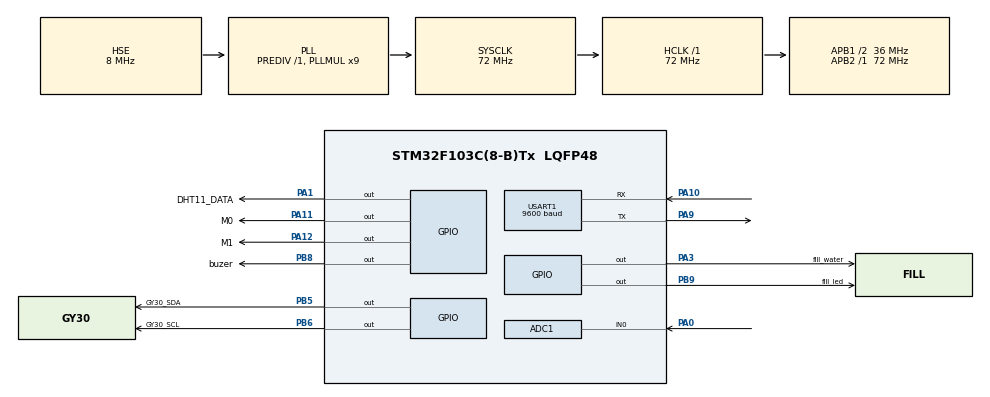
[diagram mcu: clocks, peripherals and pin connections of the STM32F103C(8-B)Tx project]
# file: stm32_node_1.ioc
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ADC1.Channel-0\#ChannelRegularConversion=ADC_CHANNEL_0
ADC1.ContinuousConvMode=ENABLE
ADC1.EnableAnalogWatchDog=false
ADC1.NbrOfConversionFlag=1
ADC1.Rank-0\#ChannelRegularConversion=1
ADC1.SamplingTime-0\#ChannelRegularConversion=ADC_SAMPLETIME_1CYCLE_5
ADC1.master=1
Dma.ADC1.0.Direction=DMA_PERIPH_TO_MEMORY
Dma.ADC1.0.Instance=DMA1_Channel1
Dma.ADC1.0.MemDataAlignment=DMA_MDATAALIGN_HALFWORD
Dma.ADC1.0.MemInc=DMA_MINC_ENABLE
Dma.ADC1.0.Mode=DMA_CIRCULAR
Dma.ADC1.0.PeriphDataAlignment=DMA_PDATAALIGN_HALFWORD
Dma.ADC1.0.PeriphInc=DMA_PINC_DISABLE
Dma.ADC1.0.Priority=DMA_PRIORITY_LOW
Dma.Request0=ADC1
Dma.Request1=USART1_RX
Dma.USART1_RX.1.Direction=DMA_PERIPH_TO_MEMORY
Dma.USART1_RX.1.Instance=DMA1_Channel5
Dma.USART1_RX.1.MemDataAlignment=DMA_MDATAALIGN_BYTE
Dma.USART1_RX.1.MemInc=DMA_MINC_ENABLE
Dma.USART1_RX.1.Mode=DMA_CIRCULAR
Dma.USART1_RX.1.PeriphDataAlignment=DMA_PDATAALIGN_BYTE
Dma.USART1_RX.1.PeriphInc=DMA_PINC_DISABLE
Dma.USART1_RX.1.Priority=DMA_PRIORITY_LOW
FREERTOS.Tasks01=defaultTask,24,128,StartDefaultTask,Default,NULL,Dynamic,NULL,NULL
Mcu.Family=STM32F1
Mcu.Name=STM32F103C(8-B)Tx
Mcu.Package=LQFP48
NVIC.DMA1_Channel1_IRQn=true\:5\:0\:false\:false\:true\:true\:false\:true\:true
NVIC.DMA1_Channel5_IRQn=true\:5\:0\:false\:false\:true\:true\:false\:true\:true
NVIC.PriorityGroup=NVIC_PRIORITYGROUP_4
NVIC.TIM4_IRQn=true\:15\:0\:false\:false\:true\:false\:false\:true\:true
NVIC.TimeBase=TIM4_IRQn
NVIC.TimeBaseIP=TIM4
NVIC.USART1_IRQn=true\:5\:0\:false\:false\:true\:true\:true\:true\:true
PA0-WKUP.Signal=ADCx_IN0
PA1.GPIO_Label=DHT11_DATA
PA1.GPIO_ModeDefaultOutputPP=GPIO_MODE_OUTPUT_PP
PA1.GPIO_Speed=GPIO_SPEED_FREQ_HIGH
PA1.PinState=GPIO_PIN_SET
PA1.Signal=GPIO_Output
PA10.Mode=Asynchronous
PA10.Signal=USART1_RX
PA11.GPIO_Label=M0
PA11.Signal=GPIO_Output
PA12.GPIO_Label=M1
PA12.Signal=GPIO_Output
PA13.Mode=Serial_Wire
PA13.Signal=SYS_JTMS-SWDIO
PA14.Mode=Serial_Wire
PA14.Signal=SYS_JTCK-SWCLK
PA3.GPIO_Label=fill_water
PA3.PinState=GPIO_PIN_RESET
PA3.Signal=GPIO_Output
PA9.Mode=Asynchronous
PA9.Signal=USART1_TX
PB5.GPIO_Label=GY30_SDA
PB5.GPIO_ModeDefaultOutputPP=GPIO_MODE_OUTPUT_OD
PB5.GPIO_PuPd=GPIO_PULLUP
PB5.PinState=GPIO_PIN_SET
PB5.Signal=GPIO_Output
PB6.GPIO_Label=GY30_SCL
PB6.GPIO_ModeDefaultOutputPP=GPIO_MODE_OUTPUT_OD
PB6.GPIO_PuPd=GPIO_PULLUP
PB6.PinState=GPIO_PIN_SET
PB6.Signal=GPIO_Output
PB8.GPIO_Label=buzer
PB8.Signal=GPIO_Output
PB9.GPIO_Label=fill_led
PB9.Signal=GPIO_Output
PD0-OSC_IN.Mode=HSE-External-Oscillator
PD0-OSC_IN.Signal=RCC_OSC_IN
PD1-OSC_OUT.Mode=HSE-External-Oscillator
PD1-OSC_OUT.Signal=RCC_OSC_OUT
ProjectManager.HeapSize=0x200
ProjectManager.StackSize=0x400
ProjectManager.TargetToolchain=CMake
RCC.ADCPresc=RCC_ADCPCLK2_DIV6
RCC.AHBFreq_Value=72000000
RCC.APB1CLKDivider=RCC_HCLK_DIV2
RCC.APB1Freq_Value=36000000
RCC.APB1TimFreq_Value=72000000
RCC.APB2Freq_Value=72000000
RCC.APB2TimFreq_Value=72000000
RCC.HCLKFreq_Value=72000000
RCC.PLLMUL=RCC_PLL_MUL9
RCC.PLLSourceVirtual=RCC_PLLSOURCE_HSE
RCC.SYSCLKFreq_VALUE=72000000
RCC.SYSCLKSource=RCC_SYSCLKSOURCE_PLLCLK
RCC.USBFreq_Value=72000000
SH.ADCx_IN0.0=ADC1_IN0,IN0
USART1.BaudRate=9600
USART1.VirtualMode=VM_ASYNC
VP_FREERTOS_VS_CMSIS_V2.Mode=CMSIS_V2
VP_SYS_VS_tim4.Mode=TIM4
board=custom

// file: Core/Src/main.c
/* USER CODE BEGIN Header */
/**
  ******************************************************************************
  * @file           : main.c
  * @brief          : Main program body
  ******************************************************************************
  * @attention
  *
  * Copyright (c) 2026 STMicroelectronics.
  * All rights reserved.
  *
  * This software is licensed under terms that can be found in the LICENSE file
  * in the root directory of this software component.
  * If no LICENSE file comes with this software, it is provided AS-IS.
  *
  ******************************************************************************
  */
/* USER CODE END Header */
#include "main.h"
#include "cmsis_os.h"
#include "adc.h"
#include "dma.h"
#include "usart.h"
#include "gpio.h"

/* USER CODE BEGIN Includes */
#include "delay.h"
#include "lora_at.h"
/* USER CODE END Includes */

void SystemClock_Config(void);
void MX_FREERTOS_Init(void);

int main(void)
{

  /* MCU Configuration--------------------------------------------------------*/

  /* Reset of all peripherals, Initializes the Flash interface and the Systick. */
  HAL_Init();

  /* USER CODE BEGIN Init */
  delay_init();
  /* USER CODE END Init */

  /* Configure the system clock */
  SystemClock_Config();

  /* Initialize all configured peripherals */
  MX_GPIO_Init();
  MX_DMA_Init();
  MX_USART1_UART_Init();
  MX_ADC1_Init();
  /* USER CODE BEGIN 2 */

  // 初始化LoRa模块
  Lora_StatusTypeDef lora_status = LORA_Init();
  if(lora_status == LORA_OK)
  {
    // LoRa初始化成功
    // 可以在这里添加指示灯或调试信息
  }
  else
  {
    // LoRa初始化失败处理
    // 可以在这里添加错误处理逻辑
  }

  /* USER CODE END 2 */

  /* Init scheduler */
  osKernelInitialize();  /* Call init function for freertos objects (in cmsis_os2.c) */
  MX_FREERTOS_Init();

  /* Start scheduler */
  osKernelStart();

  /* We should never get here as control is now taken by the scheduler */

  /* Infinite loop */
  while (1)
  {

  }
}

void SystemClock_Config(void)
{
  RCC_OscInitTypeDef RCC_OscInitStruct = {0};
  RCC_ClkInitTypeDef RCC_ClkInitStruct = {0};
  RCC_PeriphCLKInitTypeDef PeriphClkInit = {0};

  /** Initializes the RCC Oscillators according to the specified parameters
  * in the RCC_OscInitTypeDef structure.
  */
  RCC_OscInitStruct.OscillatorType = RCC_OSCILLATORTYPE_HSE;
  RCC_OscInitStruct.HSEState = RCC_HSE_ON;
  RCC_OscInitStruct.HSEPredivValue = RCC_HSE_PREDIV_DIV1;
  RCC_OscInitStruct.HSIState = RCC_HSI_ON;
  RCC_OscInitStruct.PLL.PLLState = RCC_PLL_ON;
  RCC_OscInitStruct.PLL.PLLSource = RCC_PLLSOURCE_HSE;
  RCC_OscInitStruct.PLL.PLLMUL = RCC_PLL_MUL9;
  if (HAL_RCC_OscConfig(&RCC_OscInitStruct) != HAL_OK)
  {
    Error_Handler();
  }

  /** Initializes the CPU, AHB and APB buses clocks
  */
  RCC_ClkInitStruct.ClockType = RCC_CLOCKTYPE_HCLK|RCC_CLOCKTYPE_SYSCLK
                              |RCC_CLOCKTYPE_PCLK1|RCC_CLOCKTYPE_PCLK2;
  RCC_ClkInitStruct.SYSCLKSource = RCC_SYSCLKSOURCE_PLLCLK;
  RCC_ClkInitStruct.AHBCLKDivider = RCC_SYSCLK_DIV1;
  RCC_ClkInitStruct.APB1CLKDivider = RCC_HCLK_DIV2;
  RCC_ClkInitStruct.APB2CLKDivider = RCC_HCLK_DIV1;

  if (HAL_RCC_ClockConfig(&RCC_ClkInitStruct, FLASH_LATENCY_2) != HAL_OK)
  {
    Error_Handler();
  }
  PeriphClkInit.PeriphClockSelection = RCC_PERIPHCLK_ADC;
  PeriphClkInit.AdcClockSelection = RCC_ADCPCLK2_DIV6;
  if (HAL_RCCEx_PeriphCLKConfig(&PeriphClkInit) != HAL_OK)
  {
    Error_Handler();
  }
}

void HAL_TIM_PeriodElapsedCallback(TIM_HandleTypeDef *htim)
{
  if (htim->Instance == TIM4)
  {
    HAL_IncTick();
  }
}

void Error_Handler(void)
{
  __disable_irq();
  while (1)
  {
  }
}

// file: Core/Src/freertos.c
/* USER CODE BEGIN Header */
/**
  ******************************************************************************
  * File Name          : freertos.c
  * Description        : Code for freertos applications
  ******************************************************************************
  * @attention
  *
  * Copyright (c) 2026 STMicroelectronics.
  * All rights reserved.
  *
  * This software is licensed under terms that can be found in the LICENSE file
  * in the root directory of this software component.
  * If no LICENSE file comes with this software, it is provided AS-IS.
  *
  ******************************************************************************
  */
/* USER CODE END Header */

#include "FreeRTOS.h"
#include "task.h"
#include "main.h"
#include "cmsis_os.h"

/* USER CODE BEGIN Includes */
#include "stream_buffer.h"  // 添加流缓冲区头文件
#include <string.h>  // 添加string.h头文件以使用memcpy函数
#include <stdio.h>   // 添加stdio.h头文件以使用sprintf函数
#include "usart.h"   // 添加usart头文件以使用huart1
#include "adc.h"     // 添加ADC头文件以使用ADC功能
#include "dht11.h"   // 添加DHT11头文件以使用温湿度传感器
#include "bh1750.h"  // 添加BH1750头文件以使用光照传感器
#include "delay.h"   // 添加delay头文件以使用延时函数
#include "oled.h"    // 添加OLED头文件以使用显示屏
#include "dma.h"     // 添加DMA头文件以使用hdma_usart1_rx
#include "lora_at.h" // 添加LoRa AT指令头文件以在帧里包含LORA模块地址ID
/* USER CODE END Includes */

/* USER CODE BEGIN PTD */
/* External DMA handle declaration */
extern DMA_HandleTypeDef hdma_usart1_rx;
/* USER CODE END PTD */

/* USER CODE BEGIN PD */
#define STREAM_BUFFER_SIZE 256      // 流缓冲区大小
#define TRIGGER_LEVEL 1             // 触发级别
#define MAX_FRAME_LENGTH 64         // 最大帧长度
#define CMD_FRAME_HEADER 0xAA       // 命令帧头标识
#define CMD_FRAME_TAIL 0x55         // 命令帧尾标识
#define FRAME_MIN_LENGTH 5          // 最小帧长度：帧头+命令类型+数据长度+校验和+帧尾

// 命令类型定义
#define CMD_TYPE_QUERY 0x01         // 查询命令
#define CMD_TYPE_SET   0x02         // 设置命令

// 自动控制阈值定义
#define LIGHT_THRESHOLD_LOW 200     // 光照强度低阈值(lux)，低于此值开启补光
#define LIGHT_THRESHOLD_HIGH 800    // 光照强度高阈值(lux)，高于此值关闭补光
#define SOIL_MOISTURE_THRESHOLD_LOW 1.5f    // 土壤湿度低阈值(V)，低于此值开启补水
#define SOIL_MOISTURE_THRESHOLD_HIGH 2.5f   // 土壤湿度高阈值(V)，高于此值关闭补水
/* USER CODE END PD */

/* USER CODE BEGIN PM */
/* Definitions for sensorTask */
osThreadId_t sensorTaskHandle;
const osThreadAttr_t sensorTask_attributes = {
  .name = "sensorTask",
  .stack_size = 256 * 4,
  .priority = (osPriority_t) osPriorityBelowNormal,
};

/* Definitions for oledDisplayTask */
osThreadId_t oledDisplayTaskHandle;
const osThreadAttr_t oledDisplayTask_attributes = {
  .name = "oledDisplayTask",
  .stack_size = 256 * 4,
  .priority = (osPriority_t) osPriorityLow,
};
/* Definitions for uartProcessTask */
osThreadId_t uartProcessTaskHandle;
const osThreadAttr_t uartProcessTask_attributes = {
    .name = "uartProcessTask",
    .stack_size = 512 * 4,
    .priority = (osPriority_t) osPriorityAboveNormal,
};
/* USER CODE END PM */

/* USER CODE BEGIN Variables */

StreamBufferHandle_t xStreamBufferUart;  // 串口流缓冲句柄

// DMA接收相关定义
#define UART_DMA_RX_BUFFER_SIZE 256
uint8_t dma_rx_buffer[UART_DMA_RX_BUFFER_SIZE]; // DMA接收缓冲区
volatile uint16_t dma_last_pos = 0; // 上次处理到的位置

// 协议帧结构体定义
typedef struct {
    uint8_t header;           // 帧头
    uint8_t cmd_type;         // 命令类型
    uint8_t data_len;         // 数据长度
    uint8_t data[MAX_FRAME_LENGTH-5]; // 数据域（减去帧头、命令类型、数据长度、校验和、帧尾）
    uint8_t checksum;         // 校验和
    uint8_t tail;             // 帧尾
} ProtocolFrame_t;

// 控制模式和状态变量
uint8_t control_mode = 1;           // 控制模式：1=自动，0=手动
uint8_t manual_light_state = 0;     // 手动模式下的补光状态
uint8_t manual_water_state = 0;     // 手动模式下的补水状态
uint8_t manual_buzer_state = 0;     // 手动模式下蜂鸣器状态

// 传感器初始化结果变量
uint8_t dht11_init_result = 0;      // DHT11传感器初始化结果 (0:成功, 非0:失败)

// 传感器任务相关变量
uint16_t adc_raw_value = 0;              // ADC最新原始值（DMA单次）
float adc_voltage_value = 0.0f;          // 转换后的电压值
uint16_t adc_dma_buffer[16] = {0};       // ADC DMA采样缓冲区（多点平均）
uint8_t adc_dma_sample_count = 16;       // 采样点数
uint8_t dht11_temperature = 0;           // DHT11温度值
uint8_t dht11_humidity = 0;              // DHT11湿度值
uint32_t bh1750_light_value = 0;         // BH1750光照值
/* USER CODE END Variables */
/* Definitions for defaultTask */
osThreadId_t defaultTaskHandle;
const osThreadAttr_t defaultTask_attributes = {
  .name = "defaultTask",
  .stack_size = 128 * 4,
  .priority = (osPriority_t) osPriorityNormal,
};

/* USER CODE BEGIN FunctionPrototypes */
void StartUartProcessTask(void *argument);
void StartSensorTask(void *argument);
uint8_t calculate_checksum(uint8_t *data, uint8_t len);
uint8_t parse_command_frame(uint8_t *buffer, size_t length, ProtocolFrame_t *frame);
void send_response_frame(uint8_t cmd_type, uint8_t *data, uint8_t data_len);
void StartOledDisplayTask(void *argument);  // 添加OLED显示任务函数原型
/* USER CODE END FunctionPrototypes */

void StartDefaultTask(void *argument);

void MX_FREERTOS_Init(void); /* (MISRA C 2004 rule 8.1) */

void MX_FREERTOS_Init(void) {
  /* USER CODE BEGIN Init */
    // 创建流缓冲区
    xStreamBufferUart = xStreamBufferCreate(STREAM_BUFFER_SIZE, TRIGGER_LEVEL);
    if(xStreamBufferUart == NULL){
        Error_Handler();  // 如果创建失败则报错
    }

    // 启动USART1 DMA接收
    dma_last_pos = 0;
    HAL_UART_Receive_DMA(&huart1, dma_rx_buffer, UART_DMA_RX_BUFFER_SIZE);
    // 使能IDLE中断
    __HAL_UART_ENABLE_IT(&huart1, UART_IT_IDLE);
  /* USER CODE END Init */

  /* Create the thread(s) */
  /* creation of defaultTask */
  defaultTaskHandle = osThreadNew(StartDefaultTask, NULL, &defaultTask_attributes);

  /* USER CODE BEGIN RTOS_THREADS */
  /* add threads, ... */
   /* creation of sensorTask */
  sensorTaskHandle = osThreadNew(StartSensorTask, NULL, &sensorTask_attributes);
  uartProcessTaskHandle = osThreadNew(StartUartProcessTask, NULL, &uartProcessTask_attributes);
  /* creation of oledDisplayTask */
  oledDisplayTaskHandle = osThreadNew(StartOledDisplayTask, NULL, &oledDisplayTask_attributes);
  /* USER CODE END RTOS_THREADS */

}

void StartDefaultTask(void *argument)
{
  for(;;)
  {
    osDelay(1);
  }
}

/* USER CODE BEGIN Application */

// 传感器读取任务 - 包含ADC读取和校准
void StartSensorTask(void *argument)
{
    // ADC采样相关变量
    uint32_t adc_raw_sum = 0;

    uint8_t dht11_read_result = 0;    // DHT11读取结果
    static uint8_t sensor_init_done = 0; // 传感器初始化标志

    // 自动控制状态变量
    static uint8_t auto_light_state = 0;     // 自动补光控制状态 (0:关闭, 1:开启)
    static uint8_t auto_water_state = 0;     // 自动补水控制状态 (0:关闭, 1:开启)

    // 在开始转换之前先进行ADC校准
    if (HAL_ADCEx_Calibration_Start(&hadc1) != HAL_OK)
    {
        Error_Handler(); // 校准失败，进入错误处理
    }

    // 启动ADC DMA多点采集
    if (HAL_ADC_Start_DMA(&hadc1, (uint32_t*)adc_dma_buffer, adc_dma_sample_count) != HAL_OK)
    {
        Error_Handler(); // 启动转换失败，进入错误处理
    }

    for(;;)
    {
        // 第一次运行时初始化传感器
        if (!sensor_init_done)
        {
            // 初始化DHT11传感器
            dht11_init_result = DHT11_Init();
            if (dht11_init_result != 0)
            {
                // DHT11初始化失败处理
                dht11_temperature = 0;
                dht11_humidity = 0;
            }

            // 初始化BH1750传感器
            delay_init();  // 初始化延时函数
            Init_BH1750(); // 初始化BH1750

            sensor_init_done = 1;
        }

        // 采集一组DMA数据后求平均
        adc_raw_sum = 0;
        for (uint8_t i = 0; i < adc_dma_sample_count; i++) {
            adc_raw_sum += adc_dma_buffer[i];
        }
        uint16_t avg_adc_value = adc_raw_sum / adc_dma_sample_count;
        adc_raw_value = avg_adc_value; // 记录最新平均值
        adc_voltage_value = ((float)avg_adc_value * 3.3f) / 4096.0f;

        // 读取DHT11温湿度传感器数据（每100ms读取一次）
        static uint32_t dht11_timer = 0;
        if (HAL_GetTick() - dht11_timer >= 100) // 100ms间隔
        {
            if (dht11_init_result == 0) // 只有初始化成功才读取
            {
                dht11_read_result = DHT11_Read_Data(&dht11_temperature, &dht11_humidity);
                if (dht11_read_result != 0)
                {
                    // 读取失败时保持原有值或设置默认值
                    dht11_temperature = 0;
                    dht11_humidity = 0;
                }
            }
            dht11_timer = HAL_GetTick();
        }

        // 读取BH1750光照传感器数据（每200ms读取一次）
        static uint32_t bh1750_timer = 0;
        if (HAL_GetTick() - bh1750_timer >= 200) // 200ms间隔
        {

                bh1750_light_value = Value_GY30(); // 读取光照强度值

            bh1750_timer = HAL_GetTick();
        }

        // === 控制逻辑 ===
        if (control_mode == 1) // 自动模式
        {
            // 补光自动控制逻辑 (基于BH1750光照传感器)
            if (bh1750_light_value < LIGHT_THRESHOLD_LOW && auto_light_state == 0)
            {
                // 光照不足，开启补光
                HAL_GPIO_WritePin(fill_led_GPIO_Port, fill_led_Pin, GPIO_PIN_SET);
                auto_light_state = 1;
            }
            else if (bh1750_light_value > LIGHT_THRESHOLD_HIGH && auto_light_state == 1)
            {
                // 光照充足，关闭补光
                HAL_GPIO_WritePin(fill_led_GPIO_Port, fill_led_Pin, GPIO_PIN_RESET);
                auto_light_state = 0;
            }

            // 补水自动控制逻辑 (基于ADC土壤湿度传感器)
            if (adc_voltage_value > 0.1f) // 确保ADC读数有效
            {
                if (adc_voltage_value < SOIL_MOISTURE_THRESHOLD_LOW && auto_water_state == 0)
                {
                    // 土壤湿度过低，开启补水
                    HAL_GPIO_WritePin(fill_water_GPIO_Port, fill_water_Pin, GPIO_PIN_SET);
                    auto_water_state = 1;
                }
                else if (adc_voltage_value > SOIL_MOISTURE_THRESHOLD_HIGH && auto_water_state == 1)
                {
                    // 土壤湿度充足，关闭补水
                    HAL_GPIO_WritePin(fill_water_GPIO_Port, fill_water_Pin, GPIO_PIN_RESET);
                    auto_water_state = 0;
                }
            }
        }
        else // 手动模式
        {
            // 根据手动状态设置GPIO
            if (manual_light_state == 1)
                HAL_GPIO_WritePin(fill_led_GPIO_Port, fill_led_Pin, GPIO_PIN_SET);
            else
                HAL_GPIO_WritePin(fill_led_GPIO_Port, fill_led_Pin, GPIO_PIN_RESET);

            if (manual_water_state == 1)
                HAL_GPIO_WritePin(fill_water_GPIO_Port, fill_water_Pin, GPIO_PIN_SET);
            else
                HAL_GPIO_WritePin(fill_water_GPIO_Port, fill_water_Pin, GPIO_PIN_RESET);

            if (manual_buzer_state == 1)
                HAL_GPIO_WritePin(buzer_GPIO_Port, buzer_Pin, GPIO_PIN_SET);
            else
                HAL_GPIO_WritePin(buzer_GPIO_Port, buzer_Pin, GPIO_PIN_RESET);
        }

        // 传感器读取间隔 - 例如每100ms读取一次
        osDelay(100);
    }
}

// 新版数据处理任务 - 状态机逐字节解析帧，支持粘包/乱序/丢包
typedef enum {
    FRAME_STATE_IDLE = 0,
    FRAME_STATE_HEADER,
    FRAME_STATE_CMD,
    FRAME_STATE_LEN,
    FRAME_STATE_DATA,
    FRAME_STATE_CHECKSUM,
    FRAME_STATE_TAIL
} FrameParseState_t;

typedef struct {
    FrameParseState_t state;
    uint8_t buffer[MAX_FRAME_LENGTH];
    uint8_t length;
    uint8_t data_len;
    uint8_t checksum;
    uint8_t data_index;
} FrameParser_t;

static FrameParser_t g_frame_parser;

static void reset_frame_parser(void) {
    memset(&g_frame_parser, 0, sizeof(g_frame_parser));
    g_frame_parser.state = FRAME_STATE_IDLE;
}

void StartUartProcessTask(void *argument)
{
    uint8_t rx_buffer[64];
    int len = 0;
    reset_frame_parser();
    for(;;)
    {
        len = xStreamBufferReceive(xStreamBufferUart, rx_buffer, sizeof(rx_buffer), pdMS_TO_TICKS(20));
        if (len > 0) {
            for (int i = 0; i < len; i++) {
                uint8_t byte = rx_buffer[i];
                switch (g_frame_parser.state) {
                    case FRAME_STATE_IDLE:
                        if (byte == CMD_FRAME_HEADER) {
                            g_frame_parser.buffer[0] = byte;
                            g_frame_parser.length = 1;
                            g_frame_parser.state = FRAME_STATE_CMD;
                        }
                        break;
                    case FRAME_STATE_CMD:
                        g_frame_parser.buffer[g_frame_parser.length++] = byte;
                        g_frame_parser.state = FRAME_STATE_LEN;
                        break;
                    case FRAME_STATE_LEN:
                        g_frame_parser.buffer[g_frame_parser.length++] = byte;
                        g_frame_parser.data_len = byte;
                        g_frame_parser.data_index = 0;
                        if (g_frame_parser.data_len > (MAX_FRAME_LENGTH-5)) {
                            reset_frame_parser();
                        } else if (g_frame_parser.data_len == 0) {
                            g_frame_parser.state = FRAME_STATE_CHECKSUM;
                        } else {
                            g_frame_parser.state = FRAME_STATE_DATA;
                        }
                        break;
                    case FRAME_STATE_DATA:
                        g_frame_parser.buffer[g_frame_parser.length++] = byte;
                        g_frame_parser.data_index++;
                        if (g_frame_parser.data_index >= g_frame_parser.data_len) {
                            g_frame_parser.state = FRAME_STATE_CHECKSUM;
                        }
                        break;
                    case FRAME_STATE_CHECKSUM:
                        g_frame_parser.buffer[g_frame_parser.length++] = byte;
                        g_frame_parser.checksum = byte;
                        g_frame_parser.state = FRAME_STATE_TAIL;
                        break;
                    case FRAME_STATE_TAIL:
                        g_frame_parser.buffer[g_frame_parser.length++] = byte;
                        if (byte == CMD_FRAME_TAIL) {
                            // 校验和校验
                            uint8_t calc_sum = 0;
                            for (int k = 0; k < g_frame_parser.length-2; k++) {
                                calc_sum += g_frame_parser.buffer[k];
                            }
                            if (calc_sum == g_frame_parser.checksum) {
                                // 直接处理帧
                                uint8_t cmd_type = g_frame_parser.buffer[1];
                                uint8_t data_len = g_frame_parser.buffer[2];
                                uint8_t *data = &g_frame_parser.buffer[3];
                                if (cmd_type == CMD_TYPE_QUERY) {
                                    send_response_frame(CMD_TYPE_QUERY, NULL, 0);
                                } else if (cmd_type == CMD_TYPE_SET) {
                                    if (data_len >= 3) {
                                        manual_light_state = (data[0] > 0) ? 1 : 0;
                                        manual_water_state = (data[1] > 0) ? 1 : 0;
                                        manual_buzer_state = (data[2] > 0) ? 1 : 0;
                                        control_mode = 0;
                                        send_response_frame(CMD_TYPE_SET, NULL, 0);
                                    }
                                } else {
                                    uint8_t error_data[1] = {0xFF};
                                    send_response_frame(cmd_type, error_data, 1);
                                }
                            }
                        }
                        reset_frame_parser();
                        break;
                    default:
                        reset_frame_parser();
                        break;
                }
            }
        }
        vTaskDelay(5 / portTICK_PERIOD_MS);
    }
}

// 计算校验和函数
uint8_t calculate_checksum(uint8_t *data, uint8_t len) {
    uint8_t sum = 0;
    for(int i = 0; i < len; i++) {
        sum += data[i];
    }
    return sum; // 简单的累加和校验
}

// 发送响应帧函数（带边界检查）
void send_response_frame(uint8_t cmd_type, uint8_t *data, uint8_t data_len) {
    uint8_t response_frame[MAX_FRAME_LENGTH];
    uint8_t index = 0;

    // 帧头、命令类型、占位的数据长度（稍后更新）
    response_frame[index++] = CMD_FRAME_HEADER;
    response_frame[index++] = cmd_type;
    response_frame[index++] = 0; // 占位

    if (cmd_type == CMD_TYPE_QUERY || cmd_type == CMD_TYPE_SET)
    {
        uint8_t sensor_data_len = 2 + 4 + 1 + 1 + 4 + 1 + 3; // 18
        if (sensor_data_len > (MAX_FRAME_LENGTH - 5)) {
            sensor_data_len = MAX_FRAME_LENGTH - 5;
        }
        // 更新长度字段
        response_frame[2] = sensor_data_len;

        // 节点ID (2)
        if (index + 2 <= MAX_FRAME_LENGTH - 2) {
            response_frame[index++] = (uint8_t)(LORA_DEFAULT_ADDRESS >> 8);
            response_frame[index++] = (uint8_t)(LORA_DEFAULT_ADDRESS & 0xFF);
        }

        // ADC 电压 (float -> 4 bytes)
        union { float f; uint8_t b[4]; } vu;
        vu.f = adc_voltage_value;
        for (int i = 0; i < 4 && index < MAX_FRAME_LENGTH - 2; i++) response_frame[index++] = vu.b[i];

        if (index < MAX_FRAME_LENGTH - 2) response_frame[index++] = dht11_temperature;
        if (index < MAX_FRAME_LENGTH - 2) response_frame[index++] = dht11_humidity;

        // BH1750 光照 (4 bytes)
        if (index + 4 <= MAX_FRAME_LENGTH - 2) {
            response_frame[index++] = (uint8_t)(bh1750_light_value >> 24);
            response_frame[index++] = (uint8_t)(bh1750_light_value >> 16);
            response_frame[index++] = (uint8_t)(bh1750_light_value >> 8);
            response_frame[index++] = (uint8_t)(bh1750_light_value & 0xFF);
        }

        if (index < MAX_FRAME_LENGTH - 2) response_frame[index++] = control_mode;

        // 实际GPIO状态
        uint8_t actual_light_state = (HAL_GPIO_ReadPin(fill_led_GPIO_Port, fill_led_Pin) == GPIO_PIN_SET) ? 1 : 0;
        uint8_t actual_water_state = (HAL_GPIO_ReadPin(fill_water_GPIO_Port, fill_water_Pin) == GPIO_PIN_SET) ? 1 : 0;
        uint8_t actual_buzer_state = (HAL_GPIO_ReadPin(buzer_GPIO_Port, buzer_Pin) == GPIO_PIN_SET) ? 1 : 0;
        if (index < MAX_FRAME_LENGTH - 2) response_frame[index++] = actual_light_state;
        if (index < MAX_FRAME_LENGTH - 2) response_frame[index++] = actual_water_state;
        if (index < MAX_FRAME_LENGTH - 2) response_frame[index++] = actual_buzer_state;
    }
    else
    {
        // 拷贝入参数据（受限边界）
        for (int i = 0; i < data_len && index < MAX_FRAME_LENGTH - 2; i++) {
            response_frame[index++] = data[i];
        }
        // 更新长度字段为实际拷贝的字节数
        response_frame[2] = (uint8_t)((index > 3) ? (index - 3) : 0);
    }

    // 计算并添加校验和
    uint8_t checksum = calculate_checksum(response_frame, index);
    if (index < MAX_FRAME_LENGTH - 1) {
        response_frame[index++] = checksum;
    } else {
        response_frame[MAX_FRAME_LENGTH - 2] = checksum;
    }

    // 添加帧尾
    if (index < MAX_FRAME_LENGTH) {
        response_frame[index++] = CMD_FRAME_TAIL;
    } else {
        response_frame[MAX_FRAME_LENGTH - 1] = CMD_FRAME_TAIL;
        index = MAX_FRAME_LENGTH;
    }

    HAL_UART_Transmit(&huart1, response_frame, index, HAL_MAX_DELAY);
}

// OLED显示任务 - 显示传感器数据和开关状态
void StartOledDisplayTask(void *argument)
{
    char display_buffer[32];
    static uint8_t oled_initialized = 0;

    // 初始化OLED显示屏
    if (!oled_initialized)
    {
        OLED_Init();
        OLED_Clear();
        OLED_Display_On();
        oled_initialized = 1;
    }

    for(;;)
    {
        // 清屏
        OLED_Clear();

        // 第一行：土壤湿度 (ADC电压值)
        sprintf(display_buffer, "Soil:%.2fV", adc_voltage_value);
        OLED_ShowString(0, 0, display_buffer, 12);

        // 第二行：温湿度 (DHT11)
        sprintf(display_buffer, "T:%dC H:%d%%", dht11_temperature, dht11_humidity);
        OLED_ShowString(0, 2, display_buffer, 12);

        // 第三行：光照强度 (BH1750)
        sprintf(display_buffer, "Light:%dlux", (int)bh1750_light_value);
        OLED_ShowString(0, 4, display_buffer, 12);

        // 第四行：开关状态
        uint8_t light_state = (HAL_GPIO_ReadPin(fill_led_GPIO_Port, fill_led_Pin) == GPIO_PIN_SET) ? 1 : 0;
        uint8_t water_state = (HAL_GPIO_ReadPin(fill_water_GPIO_Port, fill_water_Pin) == GPIO_PIN_SET) ? 1 : 0;

        sprintf(display_buffer, "LED:%s WAT:%s",
                light_state ? "ON " : "OFF",
                water_state ? "ON " : "OFF");
        OLED_ShowString(0, 6, display_buffer, 12);

        // 刷新显示
        // OLED刷新已经在ShowString中完成

        // 每2秒更新一次显示
        osDelay(2000);
    }
}
// USART1空闲中断处理函数：将DMA缓冲区有效数据写入FreeRTOS流缓冲区
void USART1_IdleLine_IRQHandler(void)
{
    uint16_t dma_curr_pos = UART_DMA_RX_BUFFER_SIZE - __HAL_DMA_GET_COUNTER(&hdma_usart1_rx); // 当前写入位置
    uint16_t data_len = 0;
    BaseType_t xHigherPriorityTaskWoken = pdFALSE;

    if (dma_curr_pos >= UART_DMA_RX_BUFFER_SIZE) dma_curr_pos = 0; // 防止越界

    if (dma_curr_pos != dma_last_pos)
    {
        if (dma_curr_pos > dma_last_pos)
        {
            // 无环绕，直接拷贝
            data_len = dma_curr_pos - dma_last_pos;
            xStreamBufferSendFromISR(xStreamBufferUart, &dma_rx_buffer[dma_last_pos], data_len, &xHigherPriorityTaskWoken);
        }
        else
        {
            // 发生环绕，先拷贝末尾，再拷贝起始
            data_len = UART_DMA_RX_BUFFER_SIZE - dma_last_pos;
            xStreamBufferSendFromISR(xStreamBufferUart, &dma_rx_buffer[dma_last_pos], data_len, &xHigherPriorityTaskWoken);
            if (dma_curr_pos > 0)
            {
                xStreamBufferSendFromISR(xStreamBufferUart, &dma_rx_buffer[0], dma_curr_pos, &xHigherPriorityTaskWoken);
            }
        }
        dma_last_pos = dma_curr_pos;
    }

    portYIELD_FROM_ISR(xHigherPriorityTaskWoken);
}
/* USER CODE END Application */
